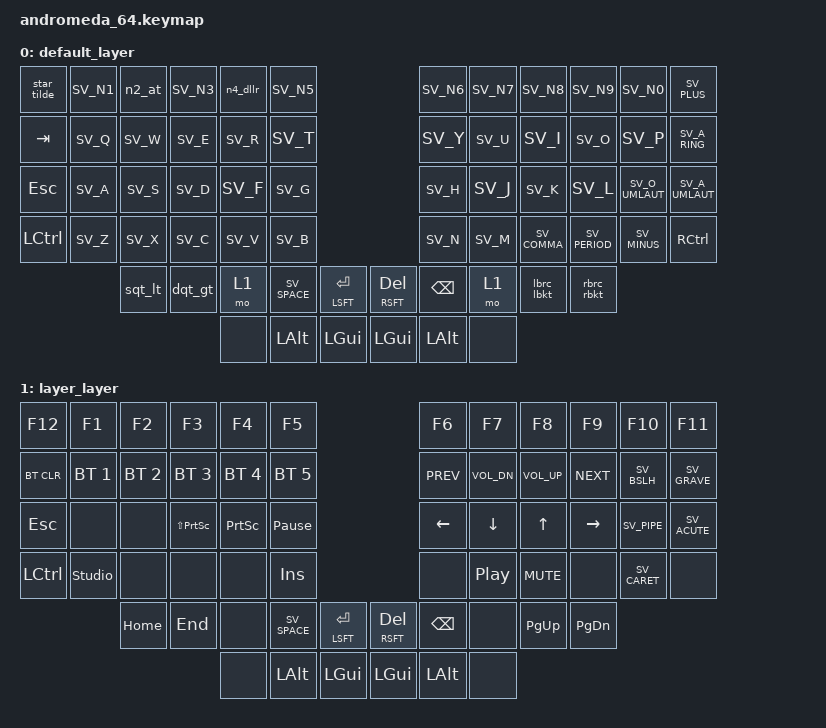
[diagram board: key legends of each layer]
#include <behaviors.dtsi>
#include <dt-bindings/zmk/keys.h>
#include <locale/keys_sv.h>
#include <dt-bindings/zmk/bt.h>

/ {
    behaviors {
        lbrc_lbkt: left_brace_bracket {
            compatible = "zmk,behavior-mod-morph";
            #binding-cells = <0>;
            bindings = <&kp SV_LBRC>, <&kp SV_LBKT>;
            mods = <(MOD_LSFT|MOD_RSFT)>;
        };
        rbrc_rbkt: right_brace_bracket {
            compatible = "zmk,behavior-mod-morph";
            #binding-cells = <0>;
            bindings = <&kp SV_RBRC>, <&kp SV_RBKT>;
            mods = <(MOD_LSFT|MOD_RSFT)>;
        };

        sqt_lt: singleQuote_lessThan {
            compatible = "zmk,behavior-mod-morph";
            #binding-cells = <0>;
            bindings = <&kp SV_SQT>, <&kp SV_LT>;
            mods = <(MOD_LSFT|MOD_RSFT)>;
        };
        dqt_gt: dubbleQuote_greaterThan {
            compatible = "zmk,behavior-mod-morph";
            #binding-cells = <0>;
            bindings = <&kp SV_DQT>, <&kp SV_GT>;
            mods = <(MOD_LSFT|MOD_RSFT)>;
        };

        star_tilde: star_tilde {
            compatible = "zmk,behavior-mod-morph";
            #binding-cells = <0>;
            bindings = <&kp SV_STAR>, <&kp SV_TILDE>;
            mods = <(MOD_LSFT|MOD_RSFT)>;
        };

        /*
         * KEY               -> 2
         * SHIFT + KEY       -> @
         * MOD + SHIFT + KEY -> MOD + SHIFT + 2
         */
        at_gs2: at_guiShiftN2 {
            compatible = "zmk,behavior-mod-morph";
            #binding-cells = <0>;
            bindings = <&kp SV_AT>, <&kp LS(SV_N2)>;
            mods = <(MOD_LCTL|MOD_RCTL|MOD_LALT|MOD_RALT|MOD_LGUI|MOD_RGUI)>;
            keep-mods = <(MOD_LCTL|MOD_RCTL|MOD_LALT|MOD_RALT|MOD_LGUI|MOD_RGUI)>;
        };
        n2_at: n2_at {
            compatible = "zmk,behavior-mod-morph";
            #binding-cells = <0>;
            bindings = <&kp SV_N2>, <&at_gs2>;
            mods = <(MOD_LSFT|MOD_RSFT)>;
        };

        /*
         * KEY               -> 4
         * SHIFT + KEY       -> $
         * MOD + SHIFT + KEY -> MOD + SHIFT + 4
         */
        dllr_gs4: dollar_guiShiftN4 {
            compatible = "zmk,behavior-mod-morph";
            #binding-cells = <0>;
            bindings = <&kp SV_DLLR>, <&kp LS(SV_N4)>;
            mods = <(MOD_LCTL|MOD_RCTL|MOD_LALT|MOD_RALT|MOD_LGUI|MOD_RGUI)>;
            keep-mods = <(MOD_LCTL|MOD_RCTL|MOD_LALT|MOD_RALT|MOD_LGUI|MOD_RGUI)>;
        };
        n4_dllr: n4_dollar {
            compatible = "zmk,behavior-mod-morph";
            #binding-cells = <0>;
            bindings = <&kp SV_N4>, <&dllr_gs4>;
            mods = <(MOD_LSFT|MOD_RSFT)>;
        };
    };

    keymap {
        compatible = "zmk,keymap";

        default_layer { // Layer 0
// -----------------------------------------------------------------------------------------
// |  *  |  1  |  2  |  3  |  4  |  5  |       **       |  6  |  7  |  8  |  9  |  0  |  +  |
// | TAB |  q  |  w  |  e  |  r  |  t  |       **       |  y  |  u  |  i  |  o  |  p  |  å  |
// | ESC |  a  |  s  |  d  |  f  |  g  |       **       |  h  |  j  |  k  |  l  |  ö  |  ä  |
// |LCTRL|  z  |  x  |  c  |  v  |  b  |       **       |  n  |  m  |  ,  |  .  |  -  |RCTRL|
//             |  '  |  "  |LAYER| SPC |SFT R| ** |SFT D| BSPC|LAYER|  {  |  }  |
//                         |     | LALT| LGUI| ** | LGUI| LALT|     |
// With Shift
// |  ~  |  !  |  @  |  #  |  $  |  %  |       **       |  &  |  /  |  (  |  )  |  =  |  ?  |
// | TAB |  Q  |  W  |  E  |  R  |  T  |       **       |  Y  |  U  |  I  |  O  |  P  |  Å  |
// | ESC |  A  |  S  |  D  |  F  |  G  |       **       |  H  |  J  |  K  |  L  |  Ö  |  Ä  |
// |LCTRL|  Z  |  X  |  C  |  V  |  B  |       **       |  N  |  M  |  ;  |  :  |  _  |RCTRL|
//             |  <  |  >  |LAYER| SPC |SFT R| ** |SFT D| BSPC|LAYER|  [  |  ]  |
//                         |     | LALT| LGUI| ** | LGUI| LALT|     |
            bindings = <
&star_tilde &kp SV_N1  &n2_at   &kp SV_N3 &n4_dllr &kp SV_N5                  /**/              &kp SV_N6 &kp SV_N7 &kp SV_N8    &kp SV_N9     &kp SV_N0       &kp SV_PLUS
&kp TAB     &kp SV_Q   &kp SV_W &kp SV_E  &kp SV_R &kp SV_T                   /**/              &kp SV_Y  &kp SV_U  &kp SV_I     &kp SV_O      &kp SV_P        &kp SV_A_RING
&kp ESC     &kp SV_A   &kp SV_S &kp SV_D  &kp SV_F &kp SV_G                   /**/              &kp SV_H  &kp SV_J  &kp SV_K     &kp SV_L      &kp SV_O_UMLAUT &kp SV_A_UMLAUT
&kp LCTRL   &kp SV_Z   &kp SV_X &kp SV_C  &kp SV_V &kp SV_B                   /**/              &kp SV_N  &kp SV_M  &kp SV_COMMA &kp SV_PERIOD &kp SV_MINUS    &kp RCTRL
                       &sqt_lt  &dqt_gt   &mo 1    &kp SV_SPACE &mt LSFT RET  /**/ &mt RSFT DEL &kp BSPC  &mo 1     &lbrc_lbkt   &rbrc_rbkt
                                          &none    &kp LALT     &kp LGUI      /**/ &kp LGUI     &kp LALT  &none
            >;
        };
        layer_layer { // Layer 1
// -----------------------------------------------------------------------------------------
// | F12 | F1  | F2  | F3  | F4  | F5  |       **       | F6  | F7  | F8  | F9  | F10 | F11 |
// |BTCLR| BT1 | BT2 | BT3 | BT4 | BT5 |       **       | PREV| VDN | VUP | NEXT|  \  |  `  |
// | ESC |     |     | PSEL|PSCRN| PB  |       **       | LEFT| DOWN| UP  |RIGHT|  |  |  ´  |
// | LCTL|ULOCK|     |     |     | INS |       **       |     |PAUSE| MUTE|     |  ^  |     |
//             | HOME| END | XXX | SPC |SFT R| ** |SFT D| BSPC| XXX | PGUP| PGDN|
//                         |     | LALT| LGUI| ** | LGUI| LALT|     |
            bindings = <
&kp F12    &kp F1         &kp F2       &kp F3        &kp F4       &kp F5                        /**/              &kp F6     &kp F7       &kp F8       &kp F9     &kp F10      &kp F11
&bt BT_CLR &bt BT_SEL 1   &bt BT_SEL 2 &bt BT_SEL 3  &bt BT_SEL 4 &bt BT_SEL 5                  /**/              &kp C_PREV &kp C_VOL_DN &kp C_VOL_UP &kp C_NEXT &kp SV_BSLH  &kp SV_GRAVE
&kp ESC    &none          &none        &kp LS(PSCRN) &kp PSCRN    &kp PAUSE_BREAK               /**/              &kp LEFT   &kp DOWN     &kp UP       &kp RIGHT  &kp SV_PIPE  &kp SV_ACUTE
&kp LCTRL  &studio_unlock &none        &none         &none        &kp INS                       /**/              &none      &kp C_PP     &kp C_MUTE   &none      &kp SV_CARET &none
                          &kp HOME     &kp END       &none        &kp SV_SPACE    &mt LSFT RET  /**/ &mt RSFT DEL &kp BSPC   &none        &kp PG_UP    &kp PG_DN
                                                     &none        &kp LALT        &kp LGUI      /**/ &kp LGUI     &kp LALT   &none
            >;
        };
    };
 };
